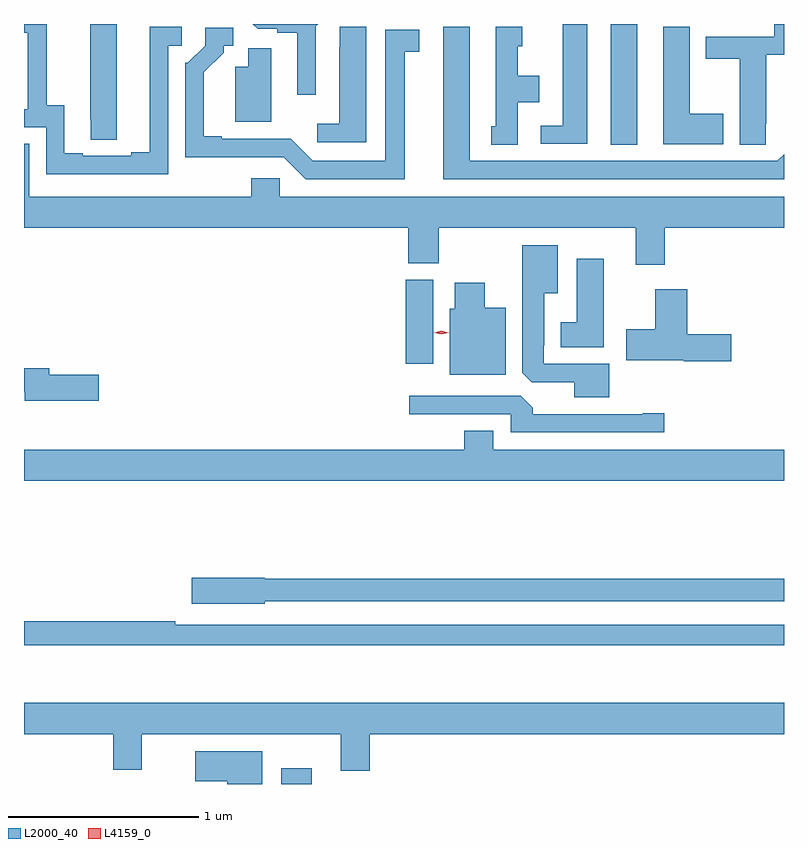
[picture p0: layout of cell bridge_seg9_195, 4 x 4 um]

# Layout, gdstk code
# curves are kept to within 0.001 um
import gdstk
lib = gdstk.Library(unit=1e-6, precision=1e-09)
def R(c, l, rs):  # rectangles x0, y0, x1, y1
    for r in rs: c.add(gdstk.rectangle(r[:2], r[2:], *l))
def P(c, l, *ps):  # polygons
    for p in ps: c.add(gdstk.Polygon(p, *l))
L2000_40 = (2000, 40)
L4159_0 = (4159, 0)

bridge_seg9_195 = lib.new_cell('bridge_seg9_195')
R(bridge_seg9_195, L2000_40, [(172.244,1225.461,172.405,1225.543), (172.898,1227.672,173.044,1228.116), (173.978,1228.825,174.118,1229.461)])
P(bridge_seg9_195, L2000_40, [(174.795,1228.936),(174.796,1228.936),(174.796,1229.298),(174.89,1229.298),(174.89,1229.461),(174.838,1229.461),(174.838,1229.394),(174.479,1229.394),(174.479,1229.278),(174.656,1229.278),(174.656,1228.825),(174.795,1228.825)],
  [(171.648,1229.346),(171.721,1229.346),(171.721,1229.447),(171.551,1229.447),(171.551,1228.787),(171.455,1228.787),(171.455,1228.767),(171.199,1228.767),(171.199,1228.782),(171.103,1228.782),(171.103,1229.033),(171.009,1229.033),(171.009,1229.461),(170.89,1229.461),(170.89,1229.415),(170.909,1229.415),(170.909,1229.414),(170.91,1229.414),(170.91,1229.013),(170.89,1229.013),(170.89,1228.917),(171.006,1228.917),(171.006,1228.671),(171.648,1228.671)],
  [(173.854,1229.461),(173.726,1229.461),(173.726,1228.926),(173.61,1228.926),(173.61,1228.83),(173.854,1228.83)],
  [(172.425,1229.448),(172.438,1229.461),(172.094,1229.461),(172.119,1229.436),(172.224,1229.436),(172.224,1229.416),(172.328,1229.416),(172.328,1229.088),(172.425,1229.088)],
  [(171.379,1229.461),(171.239,1229.461),(171.239,1228.96),(171.24,1228.96),(171.24,1228.852),(171.379,1228.852)],
  [(174.571,1228.989),(174.394,1228.989),(174.394,1229.447),(174.255,1229.447),(174.255,1229.339),(174.254,1229.339),(174.254,1228.829),(174.571,1228.829)],
  [(172.69,1229.447),(172.551,1229.447),(172.551,1229.339),(172.55,1229.339),(172.55,1228.936),(172.434,1228.936),(172.434,1228.839),(172.69,1228.839)],
  [(174.89,1228.775),(174.855,1228.74),(173.236,1228.74),(173.236,1229.446),(173.096,1229.446),(173.096,1228.644),(174.89,1228.644)],
  [(173.488,1229.048),(173.602,1229.048),(173.602,1229.188),(173.488,1229.188),(173.488,1229.343),(173.512,1229.343),(173.512,1229.446),(173.372,1229.446),(173.372,1228.923),(173.348,1228.923),(173.348,1228.825),(173.488,1228.825)],
  [(172.894,1229.314),(172.969,1229.314),(172.969,1229.43),(172.79,1229.43),(172.79,1228.74),(172.41,1228.74),(172.293,1228.857),(171.931,1228.857),(171.931,1228.87),(171.835,1228.87),(171.835,1229.206),(171.94,1229.311),(171.94,1229.346),(171.99,1229.346),(171.99,1229.442),(171.843,1229.442),(171.843,1229.346),(171.753,1229.256),(171.738,1229.256),(171.738,1228.76),(172.257,1228.761),(172.374,1228.644),(172.894,1228.644)],
  [(172.192,1229.334),(172.07,1229.334),(172.07,1229.236),(172.001,1229.236),(172.001,1228.946),(172.192,1228.946)],
  [(174.263,1228.388),(174.89,1228.388),(174.89,1228.552),(172.236,1228.552),(172.236,1228.65),(172.085,1228.65),(172.085,1228.552),(170.917,1228.552),(170.917,1228.832),(170.89,1228.832),(170.89,1228.388),(172.913,1228.388),(172.913,1228.201),(173.073,1228.201),(173.073,1228.388),(174.11,1228.388),(174.11,1228.194),(174.263,1228.194)],
  [(173.969,1227.672),(173.625,1227.672),(173.625,1227.769),(173.629,1227.769),(173.629,1228.043),(173.698,1228.043),(173.698,1228.297),(173.513,1228.297),(173.513,1227.625),(173.562,1227.576),(173.786,1227.576),(173.786,1227.497),(173.969,1227.497)],
  [(173.941,1228.225),(173.798,1228.225),(173.798,1227.892),(173.714,1227.892),(173.714,1227.761),(173.941,1227.761)],
  [(173.425,1227.967),(173.314,1227.967),(173.314,1228.099),(173.156,1228.099),(173.156,1227.963),(173.132,1227.963),(173.132,1227.614),(173.425,1227.614)],
  [(174.613,1227.827),(174.38,1227.827),(174.38,1228.066),(174.212,1228.066),(174.212,1227.855),(174.06,1227.855),(174.06,1227.692),(174.363,1227.692),(174.363,1227.685),(174.613,1227.685)],
  [(171.283,1227.614),(171.022,1227.614),(171.022,1227.65),(170.89,1227.65),(170.89,1227.522),(170.894,1227.522),(170.894,1227.479),(171.283,1227.479)],
  [(174.259,1227.413),(174.146,1227.413),(174.146,1227.408),(173.567,1227.408),(173.567,1227.442),(173.505,1227.504),(172.917,1227.504),(172.917,1227.408),(173.451,1227.408),(173.451,1227.312),(174.259,1227.312)],
  [(174.89,1227.22),(173.359,1227.22),(173.359,1227.319),(173.207,1227.319),(173.207,1227.22),(170.89,1227.22),(170.89,1227.056),(174.89,1227.056)],
  [(172.158,1226.424),(174.89,1226.424),(174.89,1226.54),(172.158,1226.54),(172.158,1226.546),(171.774,1226.546),(171.774,1226.411),(172.158,1226.411)],
  [(174.89,1226.298),(171.686,1226.298),(171.686,1226.318),(170.89,1226.318),(170.89,1226.19),(174.89,1226.19)],
  [(172.709,1225.724),(174.89,1225.724),(174.89,1225.888),(170.89,1225.888),(170.89,1225.724),(171.359,1225.724),(171.359,1225.535),(171.511,1225.535),(171.511,1225.724),(172.556,1225.724),(172.556,1225.53),(172.709,1225.53)],
  [(172.144,1225.633),(171.792,1225.633),(171.792,1225.475),(171.959,1225.475),(171.959,1225.461),(172.144,1225.461)])
P(bridge_seg9_195, L4159_0, [(173.087,1227.827),(173.049,1227.837),(173.048,1227.837),(173.049,1227.837),(173.087,1227.847),(173.125,1227.837),(173.125,1227.837),(173.125,1227.837)])

lib.write_gds('bridge_seg9_195.gds')
